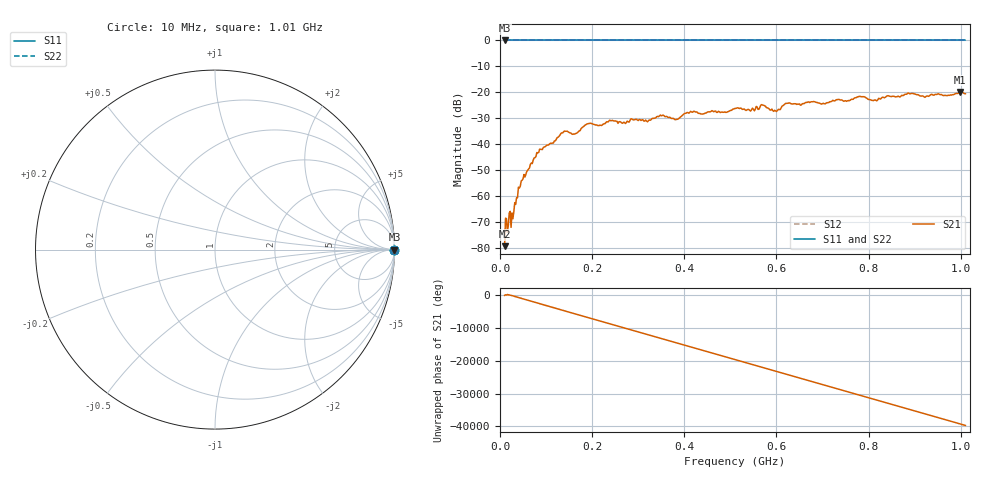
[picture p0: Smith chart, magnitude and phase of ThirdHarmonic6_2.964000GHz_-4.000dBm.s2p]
! 8/17/2025 8:22:15 AM
! C:\ANRITSUVNA\TEMP\TEMP.S2P
! CHANNEL.1
! TR.MEASUREMENT
! RAW.DATA
! RF.CORRECTION.OFF
! AVERAGING.OFF
! IF.BANDWIDTH: 5KHZ
! SWEEPTYPE:  FREQ.SWEEP(Linear)
! Reference Plane Port Info
! PORT:  PORT1  PORT2
! DISTANCE:  0  m  0  m
! TIME:  0  s  0  s
! PHASE.OFFSET:  0  deg.  0  deg.
! LOSS:  0  dB  0  dB
! REF.LOSS:  0  dB  0  dB
! REF.FREQ:  0  Hz  0  Hz
! Power Info
! POWER:  -20  dBm  -20  dBm
! EFF.POWER:  -20  dBm  -20  dBm
! SOURCE.ATTEN:  0  dB  0  dB
! TEST.ATTEN:  0  dB  0  dB
# GHZ S RI R 50.0
! FREQ.GHZ  S11RE  S11IM  S21RE  S21IM  S12RE  S12IM  S22RE  S22IM
!; PortSelection: Port_12
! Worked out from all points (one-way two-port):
!   501 points, 10 MHz to 1.01 GHz, reference 50 ohm
!   highest |S21| = -19.86 dB at 998 MHz (marker M1); lowest = -79.5 dB at 10 MHz (marker M2)
!   lowest |S11| = 0.0 dB at 10 MHz (marker M3)
!   |S11| at or under -10 dB: nowhere
!   |S22| runs from 0.0 to 0.0 dB; largest |S21 - S12| = 1.1
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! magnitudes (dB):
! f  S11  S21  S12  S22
! 10 MHz  0.0  -79.5  0.0  0.0
! 16 MHz  0.0  -74.1  0.0  0.0
! 28 MHz  0.0  -68.9  0.0  0.0
! 44 MHz  0.0  -56.3  0.0  0.0
! 84 MHz  0.0  -43.2  0.0  0.0
! 136 MHz  0.0  -35.7  0.0  0.0
! 162 MHz  0.0  -36.2  0.0  0.0
! 178 MHz  0.0  -33.7  0.0  0.0
! 194 MHz  0.0  -32.0  0.0  0.0
! 322 MHz  0.0  -31.0  0.0  0.0
! 344 MHz  0.0  -29.5  0.0  0.0
! 382 MHz  0.0  -30.5  0.0  0.0
! 416 MHz  0.0  -27.7  0.0  0.0
! 510 MHz  0.0  -26.3  0.0  0.0
! 548 MHz  0.0  -26.1  0.0  0.0
! 570 MHz  0.0  -25.0  0.0  0.0
! 598 MHz  0.0  -27.2  0.0  0.0
! 624 MHz  0.0  -24.3  0.0  0.0
! 678 MHz  0.0  -23.7  0.0  0.0
! 844 MHz  0.0  -21.4  0.0  0.0
! 998 MHz  0.0  -19.9  0.0  0.0
! 1.01 GHz  0.0  -20.6  0.0  0.0
